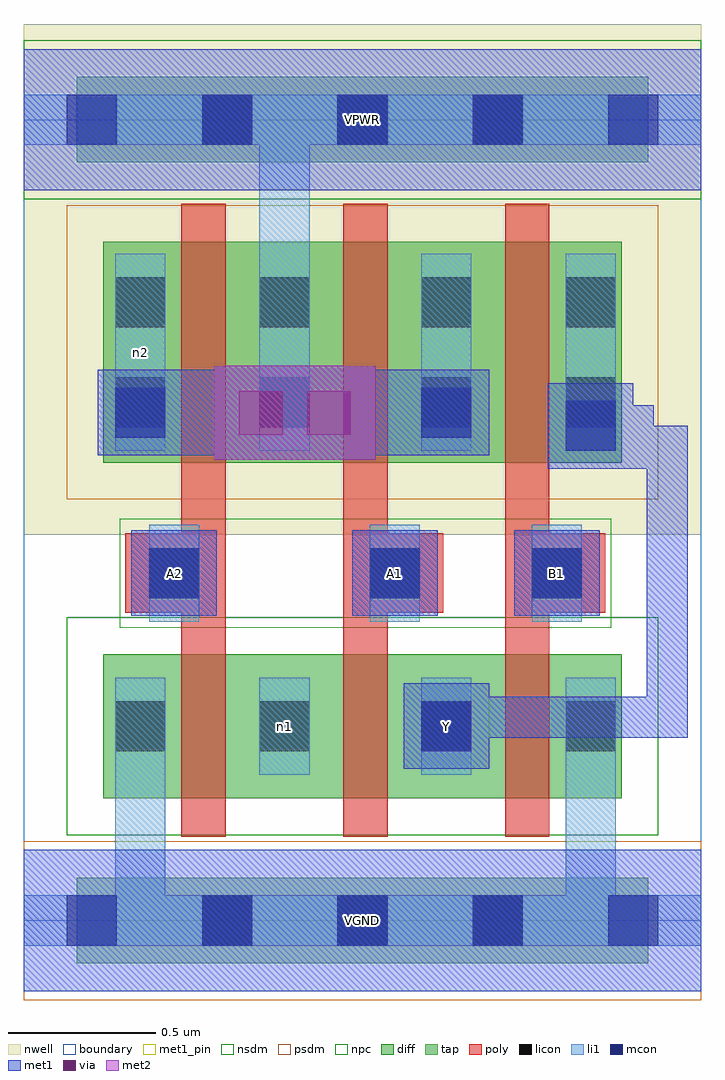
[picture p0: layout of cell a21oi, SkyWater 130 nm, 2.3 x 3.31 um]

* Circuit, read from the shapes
.subckt a21oi A1 A2 B1 VGND VPWR Y n1 n2
XM1 n1 A2 VGND VGND sky130_fd_pr__nfet_01v8 w=0.49 l=0.15
XM2 Y A1 n1 VGND sky130_fd_pr__nfet_01v8 w=0.49 l=0.15
XM3 VGND B1 Y VGND sky130_fd_pr__nfet_01v8 w=0.49 l=0.15
XM4 VPWR A2 n2 VPWR sky130_fd_pr__pfet_01v8 w=0.75 l=0.15
XM5 n2 A1 VPWR VPWR sky130_fd_pr__pfet_01v8 w=0.75 l=0.15
XM6 Y B1 n2 VPWR sky130_fd_pr__pfet_01v8 w=0.75 l=0.15
.ends

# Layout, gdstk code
import gdstk
lib = gdstk.Library(unit=1e-6, precision=1e-09)
def R(c, l, rs):  # rectangles x0, y0, x1, y1
    for r in rs: c.add(gdstk.rectangle(r[:2], r[2:], *l))
def A(c, l, x, y, w, h, nx, ny, dx, dy):  # array of equal rectangles
    R(c, l, [(x+i*dx, y+j*dy, x+i*dx+w, y+j*dy+h) for i in range(nx) for j in range(ny)])
nwell = (64, 20)
diff = (65, 20)
tap = (65, 44)
poly = (66, 20)
licon = (66, 44)
li1 = (67, 20)
mcon = (67, 44)
met1_pin = (68, 16)
met1 = (68, 20)
via = (68, 44)
met2 = (69, 20)
nsdm = (93, 44)
psdm = (94, 20)
npc = (95, 20)
boundary = (235, 4)

a21oi = lib.new_cell('a21oi')
R(a21oi, nwell, [(0,1.31,2.3,3.045)])
R(a21oi, diff, [(0.27,0.415,2.03,0.905), (0.27,1.555,2.03,2.305)])
R(a21oi, tap, [(0.18,-0.145,2.12,0.145), (0.18,2.575,2.12,2.865)])
A(a21oi, poly, 0.535, 0.285, 0.15, 2.15, 3, 1, 0.55, 0)
R(a21oi, poly, [(0.345,1.045,0.675,1.315), (1.095,1.045,1.425,1.315), (1.645,1.045,1.975,1.315)])
A(a21oi, licon, 0.605, -0.085, 0.17, 0.17, 3, 2, 0.46, 2.72)
R(a21oi, licon, [(0.31,0.575,0.48,0.745), (0.8,0.575,0.97,0.745), (1.35,0.575,1.52,0.745), (1.84,0.575,2.01,0.745), (0.425,1.095,0.595,1.265), (1.175,1.095,1.345,1.265), (1.725,1.095,1.895,1.265), (0.31,1.675,0.48,1.845), (0.8,1.675,0.97,1.845), (1.35,1.675,1.52,1.845), (1.84,1.675,2.01,1.845), (0.31,2.015,0.48,2.185), (0.8,2.015,0.97,2.185), (1.35,2.015,1.52,2.185), (1.84,2.015,2.01,2.185)])
R(a21oi, li1, [(0,-0.085,2.3,0.085), (0.31,-0.085,0.48,0.825), (1.84,-0.085,2.01,0.825), (0.31,0.495,0.48,0.825), (0.8,0.495,0.97,0.825), (1.35,0.495,1.52,0.825), (1.84,0.495,2.01,0.825), (0.425,1.015,0.595,1.345), (1.175,1.015,1.345,1.345), (1.725,1.015,1.895,1.345), (0.31,1.595,0.48,2.265), (0.8,1.595,0.97,2.265), (0.8,1.595,0.97,2.805), (1.35,1.595,1.52,2.265), (1.84,1.595,2.01,2.265), (0,2.635,2.3,2.805)])
A(a21oi, mcon, 0.145, -0.085, 0.17, 0.17, 5, 2, 0.46, 2.72)
R(a21oi, mcon, [(1.35,0.575,1.52,0.745), (0.425,1.095,0.595,1.265), (1.175,1.095,1.345,1.265), (1.725,1.095,1.895,1.265), (1.84,1.595,2.01,1.765), (0.31,1.64,0.48,1.81), (1.35,1.64,1.52,1.81)])
R(a21oi, met1_pin, [(0,-0.24,2.3,0.24), (1.29,0.515,1.58,0.805), (0.365,1.035,0.655,1.325), (1.115,1.035,1.405,1.325), (1.665,1.035,1.955,1.325), (0,2.48,2.3,2.96)])
R(a21oi, met1, [(0,-0.24,2.3,0.24), (1.29,0.515,1.58,0.805), (1.425,0.62,1.565,0.76), (1.425,0.62,2.255,0.76), (2.115,0.62,2.255,1.68), (0.365,1.035,0.655,1.325), (1.115,1.035,1.405,1.325), (1.665,1.035,1.955,1.325), (1.78,1.535,2.07,1.825), (2.07,1.535,2.115,1.68), (2,1.54,2.14,1.75), (2,1.54,2.255,1.68), (0.645,1.565,0.965,1.885), (0.875,1.565,1.195,1.885), (0.25,1.58,0.54,1.87), (0.54,1.58,0.645,1.87), (1.195,1.58,1.29,1.87), (1.29,1.58,1.58,1.87), (1.855,1.61,2.14,1.75), (0.325,1.655,0.645,1.795), (0.505,1.655,0.875,1.795), (0.965,1.655,1.335,1.795), (1.195,1.655,1.505,1.795), (0,2.48,2.3,2.96)])
R(a21oi, via, [(0.73,1.65,0.88,1.8), (0.96,1.65,1.11,1.8)])
R(a21oi, met2, [(0.645,1.565,0.965,1.885), (0.875,1.565,1.195,1.885), (0.735,1.655,1.105,1.795)])
R(a21oi, nsdm, [(0.145,0.29,2.155,1.03), (0,2.45,2.3,2.99)])
R(a21oi, psdm, [(0,-0.27,2.3,0.27), (0.145,1.43,2.155,2.43)])
R(a21oi, npc, [(0.325,0.995,1.995,1.365)])
R(a21oi, boundary, [(0,0,2.3,2.72)])
a21oi.add(gdstk.Label('n1', (0.885,0.66), layer=67, texttype=5))
a21oi.add(gdstk.Label('n2', (0.395,1.93), layer=67, texttype=5))
a21oi.add(gdstk.Label('A2', (0.51,1.18), layer=68, texttype=5))
a21oi.add(gdstk.Label('A1', (1.26,1.18), layer=68, texttype=5))
a21oi.add(gdstk.Label('B1', (1.81,1.18), layer=68, texttype=5))
a21oi.add(gdstk.Label('Y', (1.435,0.66), layer=68, texttype=5))
a21oi.add(gdstk.Label('VPWR', (1.15,2.72), layer=68, texttype=5))
a21oi.add(gdstk.Label('VGND', (1.15,0), layer=68, texttype=5))
a21oi.add(gdstk.Label('A2', (0.51,1.18), layer=68, texttype=16))
a21oi.add(gdstk.Label('A1', (1.26,1.18), layer=68, texttype=16))
a21oi.add(gdstk.Label('B1', (1.81,1.18), layer=68, texttype=16))
a21oi.add(gdstk.Label('Y', (1.435,0.66), layer=68, texttype=16))
a21oi.add(gdstk.Label('VPWR', (1.15,2.72), layer=68, texttype=16))
a21oi.add(gdstk.Label('VGND', (1.15,0), layer=68, texttype=16))

lib.write_gds('a21oi.gds')
